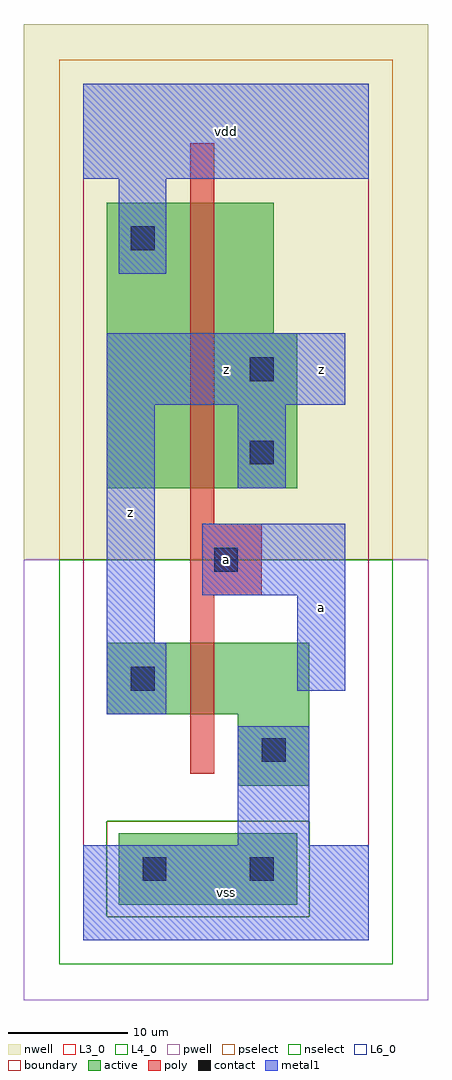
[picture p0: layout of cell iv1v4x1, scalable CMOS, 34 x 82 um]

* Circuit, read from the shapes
.subckt iv1v4x1 a vdd vss z
M1 vss a z vss nfet w=6u l=2u
M2 z a vdd n1 pfet w=24u l=2u
.ends

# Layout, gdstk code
import gdstk
lib = gdstk.Library(unit=1e-6, precision=1e-09)
def R(c, l, rs):  # rectangles x0, y0, x1, y1
    for r in rs: c.add(gdstk.rectangle(r[:2], r[2:], *l))
L3_0 = (3, 0)
L4_0 = (4, 0)
L6_0 = (6, 0)
contact = (25, 0)
pwell = (41, 0)
nwell = (42, 0)
active = (43, 0)
pselect = (44, 0)
nselect = (45, 0)
poly = (46, 0)
metal1 = (49, 0)
boundary = (63, 0)

iv1v4x1 = lib.new_cell('iv1v4x1')
R(iv1v4x1, L3_0, [(13,13,19,19), (2,19,19,25)])
R(iv1v4x1, L4_0, [(2,38,18,51), (2,51,16,62)])
R(iv1v4x1, L6_0, [(3,3,18,9)])
R(iv1v4x1, contact, [(5,5,7,7), (14,5,16,7), (15,15,17,17), (4,21,6,23), (11,31,13,33), (14,40,16,42), (14,47,16,49), (4,58,6,60)])
R(iv1v4x1, pwell, [(-5,-5,29,32)])
R(iv1v4x1, nwell, [(-5,32,29,77)])
R(iv1v4x1, active, [(3,3,18,9), (13,13,19,19), (2,19,19,25), (2,38,18,51), (2,51,16,62)])
R(iv1v4x1, pselect, [(2,2,19,10), (-2,32,26,74)])
R(iv1v4x1, nselect, [(-2,-2,26,2), (-2,2,2,10), (19,2,26,10), (-2,10,26,32)])
R(iv1v4x1, poly, [(9,14,11,29), (9,29,15,35), (9,35,11,67)])
R(iv1v4x1, metal1, [(0,0,24,8), (13,8,19,18), (2,19,7,25), (18,21,22,29), (2,25,6,45), (10,29,22,35), (13,38,17,45), (2,45,22,51), (3,56,7,64), (0,64,24,72)])
R(iv1v4x1, boundary, [(0,0,24,72)])
iv1v4x1.add(gdstk.Label('z', (4,36), layer=49, texttype=0))
iv1v4x1.add(gdstk.Label('vss', (12,4), layer=49, texttype=0))
iv1v4x1.add(gdstk.Label('a', (12,32), layer=49, texttype=0))
iv1v4x1.add(gdstk.Label('z', (12,48), layer=49, texttype=0))
iv1v4x1.add(gdstk.Label('vdd', (12,68), layer=49, texttype=0))
iv1v4x1.add(gdstk.Label('a', (20,28), layer=49, texttype=0))
iv1v4x1.add(gdstk.Label('z', (20,48), layer=49, texttype=0))

lib.write_gds('iv1v4x1.gds')
